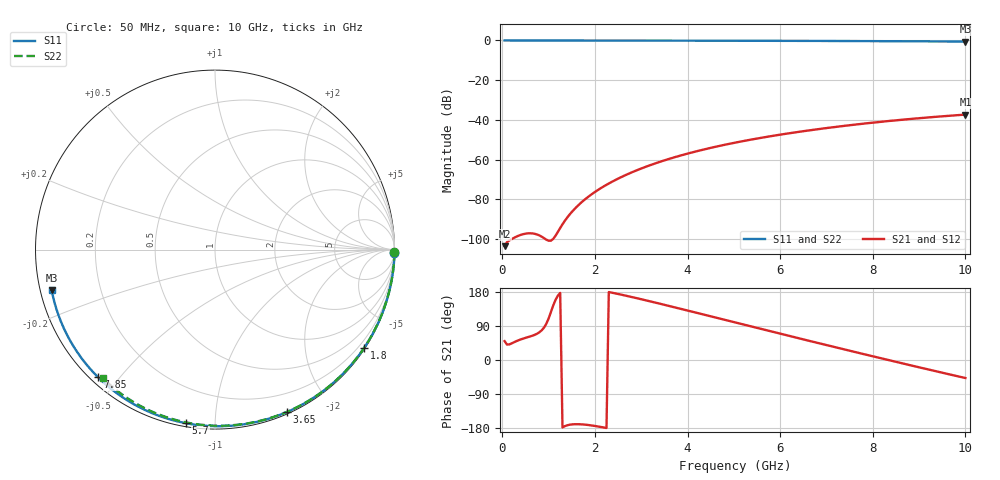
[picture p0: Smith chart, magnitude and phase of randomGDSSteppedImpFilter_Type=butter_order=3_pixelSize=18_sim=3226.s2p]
! freq	dB(S11)	phase(S11)	dB(S12)	phase(S12)
!  dB(S21)	phase(S21)	dB(S22)	phase(S22)
!S-par simulation data
#  GHz  S  DB  R 50
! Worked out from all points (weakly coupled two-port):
!   200 points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, 50 MHz to 10 GHz, reference 50 ohm
!   highest |S21| = -37.34 dB at 10 GHz (marker M1); lowest = -103.6 dB at 50 MHz (marker M2)
!   lowest |S11| = -0.6 dB at 10 GHz (marker M3), VSWR 31.19, Z = 1.63 - j6.16 ohm
!   |S11| at or under -10 dB: nowhere
!   |S22| runs from -0.4 to 0.0 dB; largest |S21 - S12| = 0
!   S11 on the Smith chart (normalised r, x): 50 MHz: open; 1.8 GHz: 0.03, -3.32; 3.65 GHz: 0.02, -1.54; 5.7 GHz: 0.02, -0.85; 7.85 GHz: 0.02, -0.44; 10 GHz: 0.03, -0.12
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0.05  -0.00 -0.9  -103.62 49.8  -103.62 49.8  -0.00 -0.8
0.45  -0.01 -8.5  -97.58 56.5  -97.58 56.5  -0.01 -6.8
0.9  -0.02 -16.9  -99.56 85.4  -99.56 85.4  -0.02 -13.6
1.3  -0.03 -24.3  -92.59 -178.0  -92.59 -178.0  -0.02 -19.5
1.75  -0.04 -32.6  -80.73 -170.2  -80.73 -170.2  -0.03 -26.1
1.8  -0.04 -33.5  -79.77 -170.8  -79.77 -170.8  -0.03 -26.9
2.1  -0.05 -38.9  -74.80 -176.1  -74.80 -176.1  -0.04 -31.3
2.3  -0.05 -42.5  -72.04 179.3  -72.04 179.3  -0.04 -34.2
2.5  -0.06 -46.1  -69.60 174.3  -69.60 174.3  -0.05 -37.0
2.9  -0.07 -53.2  -65.43 163.3  -65.43 163.3  -0.06 -42.8
3.4  -0.08 -61.8  -61.16 148.7  -61.16 148.7  -0.07 -49.8
3.65  -0.09 -66.1  -59.32 141.2  -59.32 141.2  -0.07 -53.3
4.3  -0.11 -77.0  -55.21 121.3  -55.21 121.3  -0.09 -62.1
5.05  -0.14 -89.2  -51.37 98.3  -51.37 98.3  -0.11 -72.1
5.7  -0.17 -99.5  -48.59 78.5  -48.59 78.5  -0.13 -80.4
6.2  -0.20 -107.3  -46.73 63.4  -46.73 63.4  -0.16 -86.7
6.7  -0.23 -115.0  -45.05 48.4  -45.05 48.4  -0.18 -92.9
7.25  -0.27 -123.4  -43.39 32.0  -43.39 32.0  -0.21 -99.5
7.85  -0.32 -132.5  -41.77 14.2  -41.77 14.2  -0.25 -106.6
8.35  -0.36 -140.1  -40.56 -0.5  -40.56 -0.5  -0.29 -112.4
9.2  -0.46 -153.2  -38.77 -25.0  -38.77 -25.0  -0.36 -122.2
10  -0.56 -165.9  -37.34 -47.6  -37.34 -47.6  -0.44 -131.2
